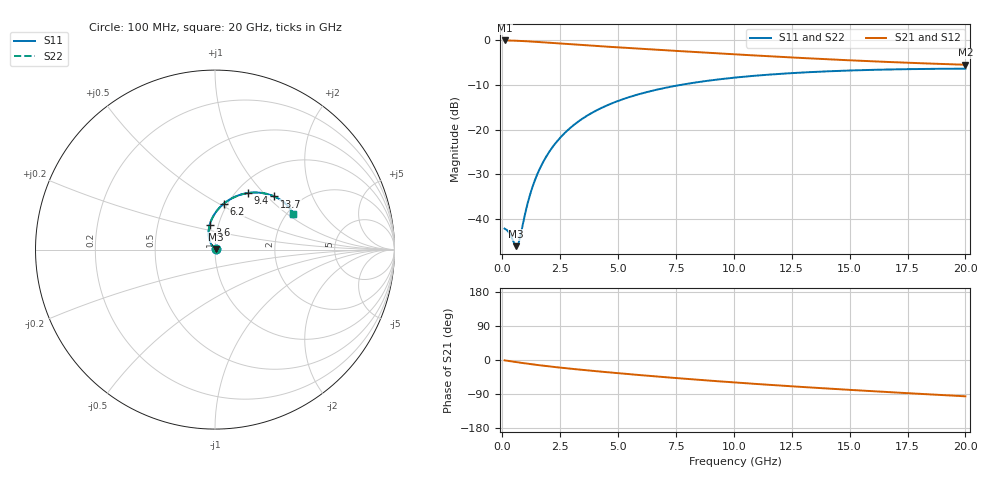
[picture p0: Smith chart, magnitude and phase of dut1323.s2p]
! Touchstone file exported from HFSS 2024.1.0
!  File:  C:/UserFiles/LocalFiles/RDL_TSV_Batchsim/temp_RDL_TSV_1323_1780387451.aedt
!  Generated:  04:19:08 PM Jun  2, 2026
!  Design:  RDL_TSV
!  Project:  temp_RDL_TSV_1323_1780387451
!  Setup:  Setup1
!  Solution:  Sweep
! Variables:
!  dtsv = 9.43um
!  hbump = 3um
!  htsv = 54.93um
!  ldown = 204.95um
!  lrdl = 136.14um
!  p = 40
!  p1 = 58.42um
!  rhole = 10um
!  subl = 1159.41um
!  t = 450um
!  tdown = 3.3um
!  trdl = 4.35um
!  viad = 10um
!  wdown = 18um
!  wrdl = 12.78um
!  xbump = 18um
# GHz S MA R 50.000000
! Terminal data exported
! Port[1] = TM1_1_T1
! Port[2] = TM1_4_T1
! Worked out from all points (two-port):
!   200 points, 100 MHz to 20 GHz, reference 50 ohm
!   highest |S21| = -0.07 dB at 100 MHz (marker M1); lowest = -5.5 dB at 20 GHz (marker M2)
!   |S21| within 3 dB of the highest: start of sweep to 9.69 GHz
!   lowest |S11| = -46.1 dB at 600 MHz (marker M3), VSWR 1.01, Z = 50.3 + j0.406 ohm
!   |S11| at or under -10 dB: start of sweep to 7.72 GHz
!   |S22| runs from -46.1 to -6.4 dB; largest |S21 - S12| = 3.2e-15
!   S11 on the Smith chart (normalised r, x): 100 MHz: 1.02, +0.00; 3.6 GHz: 0.91, +0.25; 6.2 GHz: 0.96, +0.53; 9.4 GHz: 1.13, +0.82; 13.7 GHz: 1.50, +1.11; 20 GHz: 2.15, +1.11
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0.1  0.00779 4.3  0.9919 -0.9  0.9919 -0.9  0.00779 4.3
! Gamma 0 0 0 0
! Port Impedance 50 0 50 0
0.3  0.006976 14.2  0.9899 -2.8  0.9899 -2.8  0.006976 14.2
0.6  0.004955 54.5  0.9845 -5.5  0.9845 -5.5  0.004956 54.5
0.7  0.005312 78.9  0.9821 -6.4  0.9821 -6.4  0.005311 78.9
1  0.01187 118.6  0.9735 -9.0  0.9735 -9.0  0.01186 118.6
1.2  0.01874 124.6  0.9667 -10.6  0.9667 -10.6  0.01873 124.6
1.4  0.02674 125.9  0.9594 -12.2  0.9594 -12.2  0.02673 125.9
1.7  0.04021 124.5  0.9479 -14.5  0.9479 -14.5  0.0402 124.5
2.1  0.06001 120.3  0.9319 -17.4  0.9319 -17.4  0.05999 120.3
2.5  0.08096 115.4  0.9162 -20.1  0.9162 -20.1  0.08094 115.4
3  0.1077 109.3  0.8972 -23.3  0.8972 -23.3  0.1077 109.3
3.5  0.1343 103.5  0.8792 -26.3  0.8792 -26.3  0.1343 103.5
3.6  0.1396 102.4  0.8758 -26.9  0.8758 -26.9  0.1395 102.4
4.8  0.1995 90.5  0.8365 -33.7  0.8365 -33.7  0.1994 90.5
6.2  0.2607 79.1  0.7947 -41.1  0.7947 -41.1  0.2606 79.1
6.8  0.284 74.9  0.7777 -44.2  0.7777 -44.2  0.2839 74.9
9.4  0.3652 59.7  0.7092 -56.4  0.7092 -56.4  0.3651 59.7
10.1  0.3822 56.3  0.6924 -59.5  0.6924 -59.5  0.3821 56.3
13.4  0.4401 42.9  0.6227 -72.9  0.6227 -72.9  0.4399 42.9
13.7  0.4438 41.9  0.6172 -74.0  0.6172 -74.0  0.4436 41.8
16.7  0.4697 32.7  0.5694 -84.8  0.5694 -84.8  0.4694 32.7
20  0.4793 24.6  0.5305 -95.8  0.5305 -95.8  0.4791 24.6
